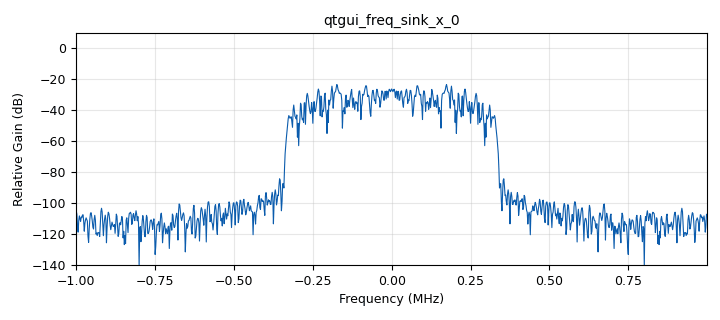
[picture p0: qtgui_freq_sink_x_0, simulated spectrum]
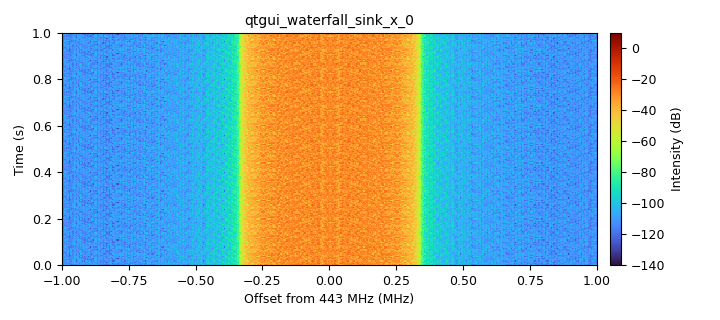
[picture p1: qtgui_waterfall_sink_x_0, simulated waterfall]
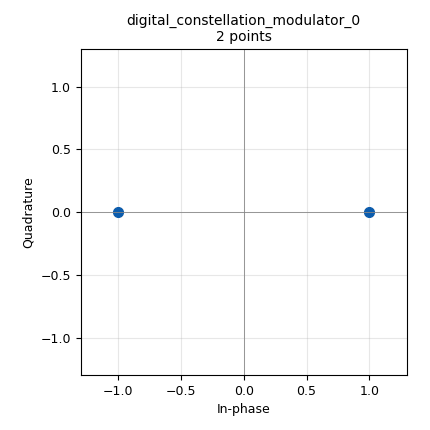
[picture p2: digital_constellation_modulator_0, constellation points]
options:
  parameters:
    author: rootr
    generate_options: qt_gui
    generator_class_name: PythonQtGuiGenerator
    generator_module: gnuradio.grc.workflows.python_qt_gui
    id: random_BPSK_tx
    output_language: python
    title: Not titled yet
  states: {}

blocks:
- name: excess_bw
  id: variable
  parameters:
    value: '0.35'
  states: {}
- name: freq
  id: variable
  parameters:
    value: 443e6
  states: {}
- name: samp_rate
  id: variable
  parameters:
    value: 2e6
  states: {}
- name: sps
  id: variable
  parameters:
    value: '4'
  states: {}
- name: sweep_bandwidth
  id: variable
  parameters:
    value: 200e3
  states: {}
- name: tone_freq
  id: variable
  parameters:
    value: 1e3
  states: {}
- name: analog_random_source_x_0
  id: analog_random_source_x
  parameters:
    max: '255'
    min: '0'
    num_samps: '1000'
    repeat: 'True'
    type: byte
  states: {}
- name: digital_constellation_modulator_0
  id: digital_constellation_modulator
  parameters:
    constellation: digital.constellation_bpsk().base()
    differential: 'True'
    excess_bw: excess_bw
    samples_per_symbol: sps
  states: {}
- name: iio_pluto_sink_0
  id: iio_pluto_sink
  parameters:
    attenuation1: '10.0'
    bandwidth: '2000000'
    buffer_size: '32768'
    cyclic: 'False'
    filter_source: '''Auto'''
    frequency: int(freq)
    samplerate: int(samp_rate)
    type: fc32
    uri: ip:192.168.1.10
  states: {}
- name: import_0
  id: import
  parameters:
    imports: import math
  states: {}
- name: qtgui_freq_sink_x_0
  id: qtgui_freq_sink_x
  parameters:
    bw: samp_rate
    fc: '0'
    fftsize: '1024'
    type: complex
  states: {}
- name: qtgui_waterfall_sink_x_0
  id: qtgui_waterfall_sink_x
  parameters:
    bw: samp_rate
    fc: freq
    fftsize: '1024'
    type: complex
  states: {}

connections:
- [analog_random_source_x_0, '0', digital_constellation_modulator_0, '0']
- [digital_constellation_modulator_0, '0', iio_pluto_sink_0, '0']
- [digital_constellation_modulator_0, '0', qtgui_freq_sink_x_0, '0']
- [digital_constellation_modulator_0, '0', qtgui_waterfall_sink_x_0, '0']

metadata:
  file_format: 1
  grc_version: 3.10.12.0
